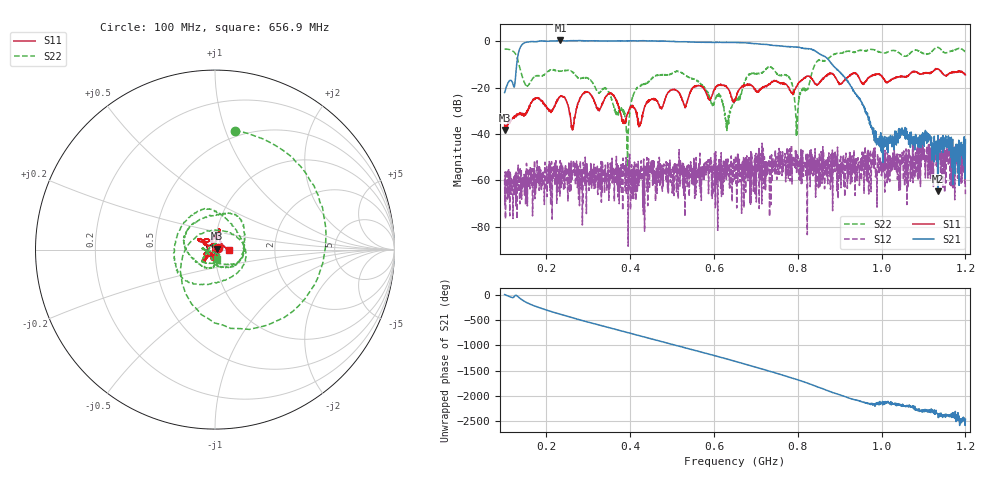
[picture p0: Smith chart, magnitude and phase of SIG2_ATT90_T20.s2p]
# Hz S DB R 50
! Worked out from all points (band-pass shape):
!   1601 points, 100 MHz to 1.2 GHz, reference 50 ohm
!   highest |S21| = 0.27 dB at 233.4 MHz (marker M1); lowest = -64.8 dB at 1.134 GHz (marker M2)
!   |S21| within 3 dB of the highest: 137.4 MHz to 804.5 MHz (667.1 MHz wide, 142 % of centre)
!   lowest |S11| = -38.3 dB at 100.7 MHz (marker M3), VSWR 1.02, Z = 51.1 + j0.523 ohm
!   |S11| at or under -10 dB: start of sweep to end of sweep
!   |S22| runs from -54.1 to -2.6 dB; largest |S21 - S12| = 1
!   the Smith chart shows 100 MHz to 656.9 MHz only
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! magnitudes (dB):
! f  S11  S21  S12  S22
! 100 MHz  -36.2  -22.2  -59.6  -3.5
! 100.7 MHz  -38.3  -21.9  -70.4  -3.4
! 144 MHz  -31.8  -1.1  -58.7  -16.2
! 233.4 MHz  -23.6  0.3  -62.8  -12.9
! 262.2 MHz  -38.0  0.2  -56.4  -13.5
! 283.6 MHz  -23.7  0.2  -55.0  -16.0
! 344.8 MHz  -23.3  0.1  -59.0  -21.0
! 392.9 MHz  -31.7  0.2  -54.9  -44.5
! 411.4 MHz  -29.5  0.1  -56.1  -21.5
! 467.1 MHz  -27.1  0.0  -60.9  -14.6
! 559.2 MHz  -19.1  -0.5  -56.7  -16.9
! 614.9 MHz  -19.1  -0.6  -52.9  -24.1
! 630.8 MHz  -20.0  -0.6  -57.6  -38.9
! 650 MHz  -25.9  -0.6  -57.1  -25.1
! 734.6 MHz  -18.4  -1.8  -51.2  -11.2
! 780.6 MHz  -21.2  -2.4  -46.4  -16.1
! 797.8 MHz  -19.4  -2.6  -52.7  -40.2
! 833.6 MHz  -16.3  -3.6  -54.8  -13.7
! 1.017 GHz  -17.4  -41.3  -51.0  -4.6
! 1.134 GHz  -12.0  -64.8  -56.8  -2.6
! 1.192 GHz  -13.4  -47.9  -46.9  -3.5
! 1.2 GHz  -14.5  -42.4  -66.0  -4.6
